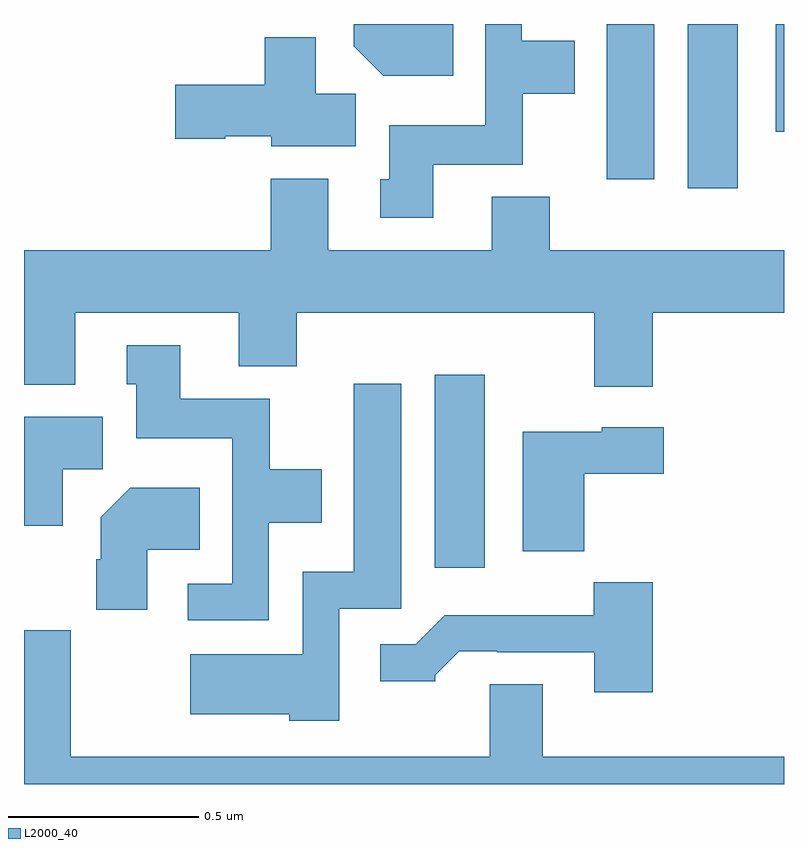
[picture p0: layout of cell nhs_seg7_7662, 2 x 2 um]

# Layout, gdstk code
import gdstk
lib = gdstk.Library(unit=1e-6, precision=1e-09)
def R(c, l, rs):  # rectangles x0, y0, x1, y1
    for r in rs: c.add(gdstk.rectangle(r[:2], r[2:], *l))
def P(c, l, *ps):  # polygons
    for p in ps: c.add(gdstk.Polygon(p, *l))
L2000_40 = (2000, 40)

nhs_seg7_7662 = lib.new_cell('nhs_seg7_7662')
R(nhs_seg7_7662, L2000_40, [(215.081,1042.569,215.212,1043.077), (215.747,1043.568,215.878,1044), (215.534,1043.592,215.659,1044), (215.978,1043.717,216,1044)])
P(nhs_seg7_7662, L2000_40, [(215.077,1043.63),(215.313,1043.63),(215.313,1043.816),(215.449,1043.816),(215.449,1043.956),(215.31,1043.956),(215.31,1044),(215.214,1044),(215.214,1043.734),(214.961,1043.734),(214.961,1043.592),(214.937,1043.592),(214.937,1043.49),(215.077,1043.49)],
  [(215.129,1044),(214.868,1044),(214.868,1043.942),(214.946,1043.864),(215.129,1043.864)],
  [(214.873,1043.816),(214.768,1043.816),(214.768,1043.965),(214.634,1043.965),(214.634,1043.84),(214.398,1043.84),(214.398,1043.698),(214.53,1043.698),(214.53,1043.705),(214.65,1043.705),(214.65,1043.678),(214.873,1043.678)],
  [(215.654,1043.24),(216,1043.24),(216,1043.404),(215.384,1043.404),(215.384,1043.545),(215.231,1043.545),(215.231,1043.404),(214.801,1043.404),(214.801,1043.593),(214.649,1043.593),(214.649,1043.404),(214,1043.404),(214,1043.051),(214.135,1043.051),(214.135,1043.24),(214.565,1043.24),(214.565,1043.099),(214.718,1043.099),(214.718,1043.24),(215.501,1043.24),(215.501,1043.046),(215.654,1043.046)],
  [(214.644,1042.688),(214.783,1042.688),(214.783,1042.828),(214.647,1042.828),(214.647,1043.014),(214.411,1043.014),(214.411,1043.155),(214.271,1043.155),(214.271,1043.052),(214.295,1043.052),(214.295,1042.91),(214.548,1042.91),(214.548,1042.527),(214.431,1042.527),(214.431,1042.431),(214.644,1042.431)],
  [(214.83,1042.461),(214.993,1042.461),(214.993,1043.053),(214.868,1043.053),(214.868,1042.558),(214.734,1042.558),(214.734,1042.342),(214.437,1042.342),(214.437,1042.184),(214.698,1042.184),(214.698,1042.166),(214.83,1042.166)],
  [(214.102,1042.828),(214.207,1042.828),(214.207,1042.966),(214,1042.966),(214,1042.68),(214.102,1042.68)],
  [(215.474,1042.817),(215.683,1042.817),(215.683,1042.939),(215.52,1042.939),(215.52,1042.927),(215.312,1042.927),(215.312,1042.613),(215.474,1042.613)],
  [(214.324,1042.616),(214.463,1042.616),(214.463,1042.78),(214.28,1042.78),(214.202,1042.702),(214.202,1042.592),(214.19,1042.592),(214.19,1042.458),(214.324,1042.458)],
  [(215.654,1042.531),(215.499,1042.531),(215.499,1042.444),(215.107,1042.444),(215.031,1042.368),(214.938,1042.368),(214.938,1042.271),(215.082,1042.271),(215.082,1042.286),(215.146,1042.35),(215.245,1042.35),(215.245,1042.347),(215.501,1042.347),(215.501,1042.242),(215.654,1042.242)],
  [(216,1042.072),(215.365,1042.072),(215.365,1042.262),(215.225,1042.262),(215.225,1042.072),(214.123,1042.072),(214.123,1042.405),(214,1042.405),(214,1042),(216,1042)])

lib.write_gds('nhs_seg7_7662.gds')
